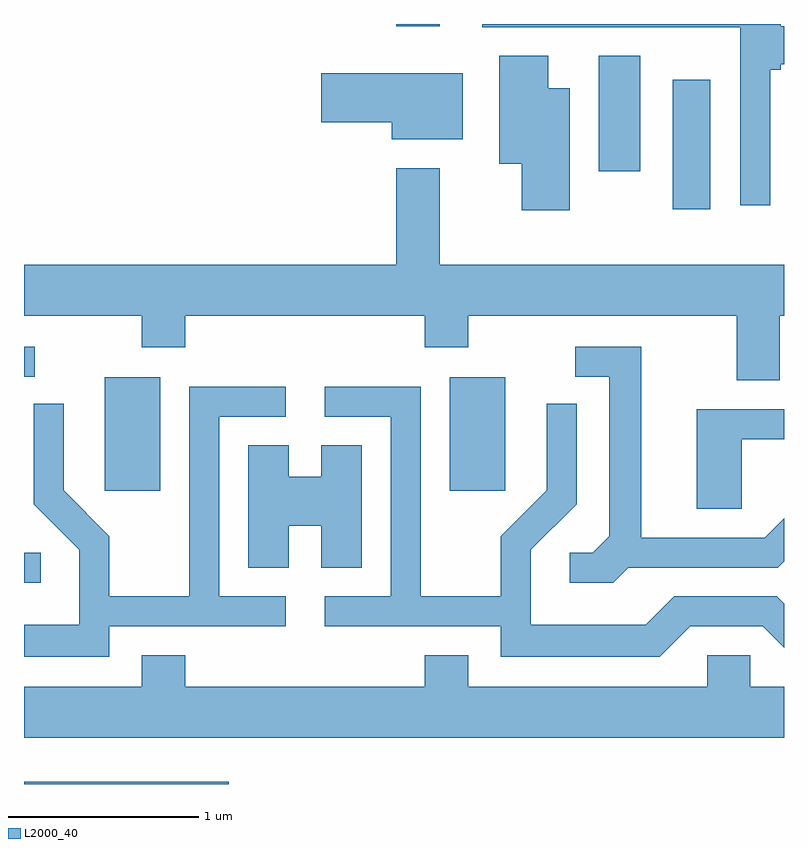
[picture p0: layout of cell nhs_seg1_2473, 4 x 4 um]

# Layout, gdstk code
import gdstk
lib = gdstk.Library(unit=1e-6, precision=1e-09)
def R(c, l, rs):  # rectangles x0, y0, x1, y1
    for r in rs: c.add(gdstk.rectangle(r[:2], r[2:], *l))
def P(c, l, *ps):  # polygons
    for p in ps: c.add(gdstk.Polygon(p, *l))
L2000_40 = (2000, 40)

nhs_seg1_2473 = lib.new_cell('nhs_seg1_2473')
R(nhs_seg1_2473, L2000_40, [(259.611,963.712,260.688,963.724), (259.611,964.771,259.698,964.929), (260.036,965.256,260.329,965.854), (261.851,965.256,262.144,965.854), (259.611,965.856,259.668,966.014), (263.026,966.736,263.224,967.419), (262.636,966.936,262.854,967.544), (261.571,967.701,261.799,967.712)])
P(nhs_seg1_2473, L2000_40, [(263.539,967.471),(263.594,967.471),(263.594,967.501),(263.611,967.501),(263.611,967.699),(263.594,967.699),(263.594,967.712),(262.022,967.712),(262.022,967.696),(263.381,967.696),(263.381,966.758),(263.539,966.758)],
  [(262.484,967.374),(262.369,967.374),(262.369,967.544),(262.111,967.544),(262.111,966.976),(262.231,966.976),(262.231,966.731),(262.484,966.731)],
  [(261.919,967.454),(261.176,967.454),(261.176,967.196),(261.546,967.196),(261.546,967.106),(261.919,967.106)],
  [(263.589,966.176),(263.611,966.176),(263.611,966.444),(261.799,966.444),(261.799,966.954),(261.571,966.954),(261.571,966.444),(259.611,966.444),(259.611,966.176),(260.231,966.176),(260.231,966.011),(260.459,966.011),(260.459,966.176),(261.721,966.176),(261.721,966.011),(261.949,966.011),(261.949,966.176),(263.361,966.176),(263.361,965.836),(263.589,965.836)],
  [(262.792,964.851),(263.577,964.851),(263.611,964.885),(263.611,965.112),(263.509,965.009),(262.859,965.009),(262.859,966.014),(262.513,966.014),(262.513,965.856),(262.691,965.856),(262.691,965.017),(262.604,964.929),(262.483,964.929),(262.483,964.771),(262.712,964.771)],
  [(260.059,964.541),(260.988,964.541),(260.988,964.699),(260.639,964.699),(260.639,965.646),(260.988,965.646),(260.988,965.804),(260.481,965.804),(260.481,964.699),(260.059,964.699),(260.059,965.017),(259.819,965.257),(259.819,965.713),(259.661,965.713),(259.661,965.184),(259.901,964.944),(259.901,964.549),(259.611,964.549),(259.611,964.381),(260.059,964.381)],
  [(263.117,964.541),(263.499,964.541),(263.611,964.429),(263.611,964.66),(263.572,964.699),(263.034,964.699),(262.884,964.549),(262.279,964.549),(262.279,964.944),(262.519,965.184),(262.519,965.713),(262.361,965.713),(262.361,965.257),(262.121,965.017),(262.121,964.699),(261.699,964.699),(261.699,965.804),(261.193,965.804),(261.193,965.646),(261.541,965.646),(261.541,964.699),(261.193,964.699),(261.193,964.541),(262.121,964.541),(262.121,964.381),(262.957,964.381)],
  [(263.389,965.526),(263.611,965.526),(263.611,965.684),(263.151,965.684),(263.151,965.161),(263.389,965.161)],
  [(261.004,965.071),(261.176,965.071),(261.176,964.851),(261.389,964.851),(261.389,965.494),(261.176,965.494),(261.176,965.329),(261.004,965.329),(261.004,965.494),(260.791,965.494),(260.791,964.851),(261.004,964.851)],
  [(263.611,964.224),(263.434,964.224),(263.434,964.389),(263.206,964.389),(263.206,964.224),(261.949,964.224),(261.949,964.389),(261.721,964.389),(261.721,964.224),(260.459,964.224),(260.459,964.389),(260.231,964.389),(260.231,964.224),(259.611,964.224),(259.611,963.956),(263.611,963.956)])

lib.write_gds('nhs_seg1_2473.gds')
